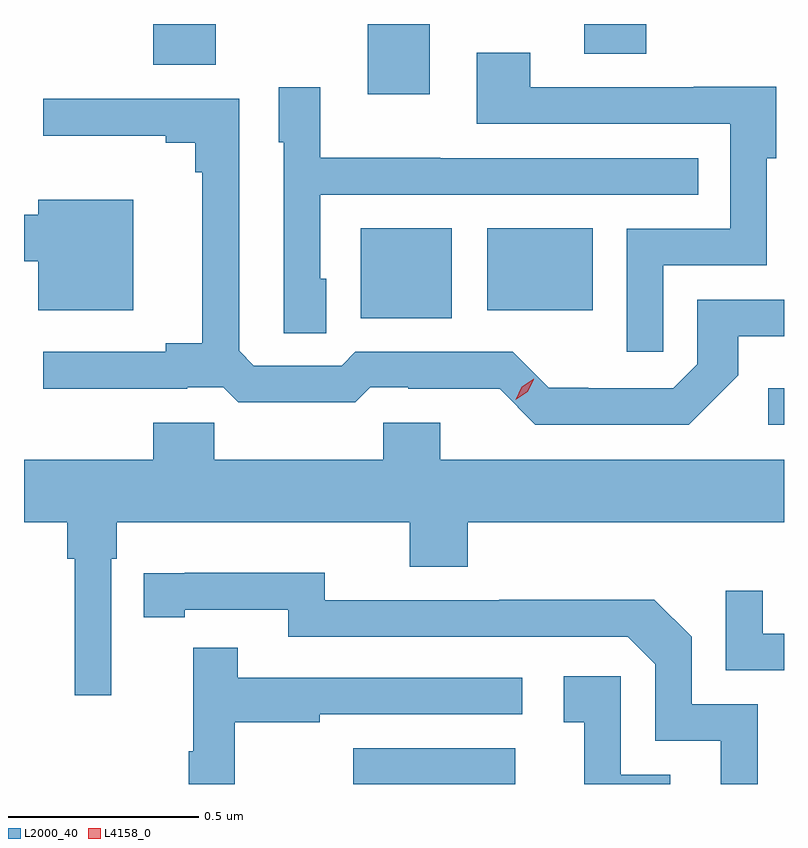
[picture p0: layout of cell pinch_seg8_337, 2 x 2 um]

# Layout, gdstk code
import gdstk
lib = gdstk.Library(unit=1e-6, precision=1e-09)
def R(c, l, rs):  # rectangles x0, y0, x1, y1
    for r in rs: c.add(gdstk.rectangle(r[:2], r[2:], *l))
def P(c, l, *ps):  # polygons
    for p in ps: c.add(gdstk.Polygon(p, *l))
L2000_40 = (2000, 40)
L4158_0 = (4158, 0)

pinch_seg8_337 = lib.new_cell('pinch_seg8_337')
R(pinch_seg8_337, L2000_40, [(466.329,1153.107,466.756,1153.201), (467.421,1154.052,467.463,1154.149), (466.349,1154.333,466.588,1154.569), (466.682,1154.354,466.96,1154.569), (466.367,1154.922,466.531,1155.107), (465.803,1155,465.967,1155.107), (466.937,1155.029,467.101,1155.107)])
P(pinch_seg8_337, L2000_40, [(467.145,1154.472),(467.418,1154.472),(467.418,1154.754),(467.443,1154.754),(467.443,1154.942),(467.225,1154.942),(467.225,1154.94),(466.795,1154.94),(466.795,1155.031),(466.655,1155.031),(466.655,1154.844),(467.322,1154.844),(467.322,1154.568),(467.049,1154.568),(467.049,1154.244),(467.145,1154.244)],
  [(466.258,1154.436),(466.242,1154.436),(466.242,1154.658),(467.237,1154.658),(467.237,1154.754),(466.559,1154.754),(466.559,1154.755),(466.242,1154.755),(466.242,1154.941),(466.133,1154.941),(466.133,1154.796),(466.146,1154.796),(466.146,1154.293),(466.258,1154.293)],
  [(467.343,1154.183),(467.343,1154.285),(467.463,1154.285),(467.463,1154.382),(467.235,1154.382),(467.235,1154.211),(467.172,1154.148),(466.948,1154.148),(466.948,1154.15),(466.844,1154.15),(466.749,1154.244),(466.335,1154.244),(466.299,1154.208),(466.068,1154.208),(466.029,1154.247),(466.029,1154.91),(465.513,1154.91),(465.513,1154.813),(465.836,1154.813),(465.836,1154.794),(465.913,1154.794),(465.913,1154.717),(465.932,1154.717),(465.932,1154.267),(465.836,1154.267),(465.836,1154.244),(465.513,1154.244),(465.513,1154.147),(465.893,1154.147),(465.893,1154.151),(465.987,1154.151),(466.027,1154.112),(466.335,1154.112),(466.374,1154.151),(466.474,1154.151),(466.474,1154.147),(466.715,1154.147),(466.809,1154.052),(467.212,1154.052)],
  [(465.751,1154.644),(465.5,1154.644),(465.5,1154.605),(465.463,1154.605),(465.463,1154.483),(465.5,1154.483),(465.5,1154.354),(465.751,1154.354)],
  [(465.693,1153.7),(465.707,1153.7),(465.707,1153.796),(466.478,1153.796),(466.478,1153.679),(466.631,1153.679),(466.631,1153.796),(467.463,1153.796),(467.463,1153.96),(466.558,1153.96),(466.558,1154.058),(466.408,1154.058),(466.408,1153.96),(465.963,1153.96),(465.963,1154.058),(465.803,1154.058),(465.803,1153.96),(465.463,1153.96),(465.463,1153.796),(465.577,1153.796),(465.577,1153.7),(465.596,1153.7),(465.596,1153.341),(465.693,1153.341)],
  [(467.394,1153.317),(467.22,1153.317),(467.22,1153.494),(467.122,1153.592),(466.714,1153.592),(466.714,1153.59),(466.254,1153.59),(466.254,1153.663),(465.886,1153.663),(465.886,1153.662),(465.778,1153.662),(465.778,1153.546),(465.886,1153.546),(465.886,1153.566),(466.158,1153.566),(466.158,1153.494),(467.052,1153.494),(467.124,1153.422),(467.124,1153.221),(467.297,1153.221),(467.297,1153.107),(467.394,1153.107)],
  [(467.463,1153.503),(467.407,1153.503),(467.407,1153.615),(467.31,1153.615),(467.31,1153.407),(467.463,1153.407)],
  [(466.018,1153.27),(466.241,1153.27),(466.241,1153.29),(466.774,1153.29),(466.774,1153.386),(466.025,1153.386),(466.025,1153.465),(465.908,1153.465),(465.908,1153.193),(465.897,1153.193),(465.897,1153.107),(466.018,1153.107)],
  [(467.163,1153.131),(467.034,1153.131),(467.034,1153.39),(466.884,1153.39),(466.884,1153.269),(466.937,1153.269),(466.937,1153.107),(467.163,1153.107)])
P(pinch_seg8_337, L4158_0, [(466.757,1154.118),(466.757,1154.118),(466.773,1154.152),(466.804,1154.173),(466.804,1154.173),(466.804,1154.172),(466.788,1154.139),(466.757,1154.118)])

lib.write_gds('pinch_seg8_337.gds')
